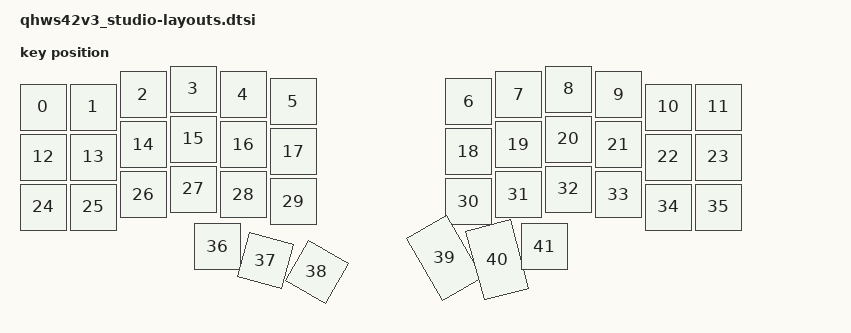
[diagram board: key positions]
#include <physical_layouts.dtsi>

/ {
    qhkb_default_layout: qhkb_default_layout {
        compatible = "zmk,physical-layout";
        display-name = "Default Layout";
        keys  //                     w   h    x    y     rot    rx    ry
            = <&key_physical_attrs 100 100    0    36      0     0     0>
            , <&key_physical_attrs 100 100  100    36      0     0     0>
            , <&key_physical_attrs 100 100  200    11      0     0     0>
            , <&key_physical_attrs 100 100  300    0       0     0     0>
            , <&key_physical_attrs 100 100  400    11      0     0     0>
            , <&key_physical_attrs 100 100  500    25      0     0     0>

            , <&key_physical_attrs 100 100  851    25      0     0     0>
            , <&key_physical_attrs 100 100  951    11      0     0     0>
            , <&key_physical_attrs 100 100  1051   0       0     0     0>
            , <&key_physical_attrs 100 100  1151   11      0     0     0>
            , <&key_physical_attrs 100 100  1251   36      0     0     0>
            , <&key_physical_attrs 100 100  1351   36      0     0     0>

            , <&key_physical_attrs 100 100    0    136     0     0     0>
            , <&key_physical_attrs 100 100  100    136     0     0     0>
            , <&key_physical_attrs 100 100  200    111     0     0     0>
            , <&key_physical_attrs 100 100  300    100     0     0     0>
            , <&key_physical_attrs 100 100  400    111     0     0     0>
            , <&key_physical_attrs 100 100  500    125     0     0     0>

            , <&key_physical_attrs 100 100  851    125     0     0     0>
            , <&key_physical_attrs 100 100  951    111     0     0     0>
            , <&key_physical_attrs 100 100  1051   100     0     0     0>
            , <&key_physical_attrs 100 100  1151   111     0     0     0>
            , <&key_physical_attrs 100 100  1251   136     0     0     0>
            , <&key_physical_attrs 100 100  1351   136     0     0     0>

            , <&key_physical_attrs 100 100    0    236     0     0     0>
            , <&key_physical_attrs 100 100  100    236     0     0     0>
            , <&key_physical_attrs 100 100  200    211     0     0     0>
            , <&key_physical_attrs 100 100  300    200     0     0     0>
            , <&key_physical_attrs 100 100  400    211     0     0     0>
            , <&key_physical_attrs 100 100  500    225     0     0     0>

            , <&key_physical_attrs 100 100  851    225     0     0     0>
            , <&key_physical_attrs 100 100  951    211     0     0     0>
            , <&key_physical_attrs 100 100  1051   200     0     0     0>
            , <&key_physical_attrs 100 100  1151   211     0     0     0>
            , <&key_physical_attrs 100 100  1251   236     0     0     0>
            , <&key_physical_attrs 100 100  1351   236     0     0     0>

            , <&key_physical_attrs 100 100  348    315     0     0     0>
            , <&key_physical_attrs 100 100  460    332     1500  460   332>
            , <&key_physical_attrs 100 100  579    348     3000  579   348>
            , <&key_physical_attrs 100 150  772    348   (-3000) 772   348>
            , <&key_physical_attrs 100 150  891    332   (-1500) 891   332>
            , <&key_physical_attrs 100 100  1003   315     0     0     0>
            ;
    };

    position_map {
        compatible = "zmk,physical-layout-position-map";
        complete;
        layout1: layout1 {
            physical-layout = <&qhkb_default_layout>;
            positions
                = <0  1  2  3  4  5        6  7  8  9  10 11>
                , <12 13 14 15 16 17       18 19 20 21 22 23>
                , <24 25 26 27 28 29       30 31 32 33 34 35>
                , <            36 37 38 39 40 41            >;
        };
    };
};
